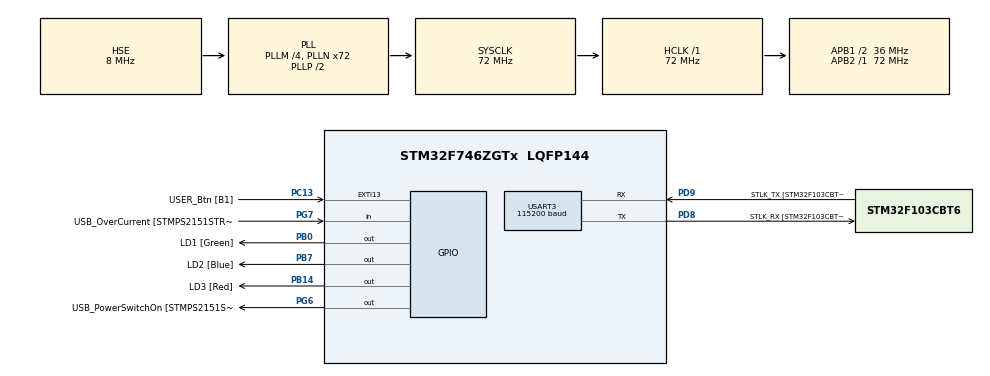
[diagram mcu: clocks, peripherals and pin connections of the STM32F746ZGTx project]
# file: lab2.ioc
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Mcu.Family=STM32F7
Mcu.Name=STM32F746ZGTx
Mcu.Package=LQFP144
NVIC.PriorityGroup=NVIC_PRIORITYGROUP_4
NVIC.USART3_IRQn=true\:0\:0\:false\:false\:true\:true\:true\:true
PA1.GPIO_Label=RMII_REF_CLK [LAN8742A-CZ-TR_REFCLK0]
PA1.Signal=ETH_REF_CLK
PA10.GPIO_Label=USB_ID
PA10.Signal=USB_OTG_FS_ID
PA11.GPIO_Label=USB_DM
PA11.Signal=USB_OTG_FS_DM
PA12.GPIO_Label=USB_DP
PA12.Signal=USB_OTG_FS_DP
PA13.GPIO_Label=TMS
PA13.Mode=Serial_Wire
PA13.Signal=SYS_JTMS-SWDIO
PA14.GPIO_Label=TCK
PA14.Mode=Serial_Wire
PA14.Signal=SYS_JTCK-SWCLK
PA2.GPIO_Label=RMII_MDIO [LAN8742A-CZ-TR_MDIO]
PA2.Signal=ETH_MDIO
PA7.GPIO_Label=RMII_CRS_DV [LAN8742A-CZ-TR_CRS_DV]
PA7.Signal=ETH_CRS_DV
PA8.GPIO_Label=USB_SOF [TP1]
PA8.Signal=USB_OTG_FS_SOF
PA9.GPIO_Label=USB_VBUS
PA9.Signal=USB_OTG_FS_VBUS
PB0.GPIO_Label=LD1 [Green]
PB0.Signal=GPIO_Output
PB13.GPIO_Label=RMII_TXD1 [LAN8742A-CZ-TR_TXD1]
PB13.Signal=ETH_TXD1
PB14.GPIO_Label=LD3 [Red]
PB14.Signal=GPIO_Output
PB3.GPIO_Label=SW0
PB3.Signal=SYS_JTDO-SWO
PB7.GPIO_Label=LD2 [Blue]
PB7.Signal=GPIO_Output
PC1.GPIO_Label=RMII_MDC [LAN8742A-CZ-TR_MDC]
PC1.Signal=ETH_MDC
PC13.GPIO_Label=USER_Btn [B1]
PC13.Signal=GPXTI13
PC14/OSC32_IN.Mode=LSE-External-Oscillator
PC14/OSC32_IN.Signal=RCC_OSC32_IN
PC15/OSC32_OUT.Mode=LSE-External-Oscillator
PC15/OSC32_OUT.Signal=RCC_OSC32_OUT
PC4.GPIO_Label=RMII_RXD0 [LAN8742A-CZ-TR_RXD0]
PC4.Signal=ETH_RXD0
PC5.GPIO_Label=RMII_RXD1 [LAN8742A-CZ-TR_RXD1]
PC5.Signal=ETH_RXD1
PD8.GPIO_Label=STLK_RX [STM32F103CBT6_PA3]
PD8.GPIO_PuPd=GPIO_PULLUP
PD8.Mode=Asynchronous
PD8.Signal=USART3_TX
PD9.GPIO_Label=STLK_TX [STM32F103CBT6_PA2]
PD9.GPIO_PuPd=GPIO_PULLUP
PD9.Mode=Asynchronous
PD9.Signal=USART3_RX
PG11.GPIO_Label=RMII_TX_EN [LAN8742A-CZ-TR_TXEN]
PG11.Signal=ETH_TX_EN
PG13.GPIO_Label=RMII_TXD0 [LAN8742A-CZ-TR_TXD0]
PG13.Signal=ETH_TXD0
PG6.GPIO_Label=USB_PowerSwitchOn [STMPS2151STR_EN]
PG6.Signal=GPIO_Output
PG7.GPIO_Label=USB_OverCurrent [STMPS2151STR_FAULT]
PG7.Signal=GPIO_Input
PH0/OSC_IN.GPIO_Label=MCO [STM32F103CBT6_PA8]
PH0/OSC_IN.Mode=HSE-External-Clock-Source
PH0/OSC_IN.Signal=RCC_OSC_IN
PH1/OSC_OUT.Mode=HSE-External-Clock-Source
PH1/OSC_OUT.Signal=RCC_OSC_OUT
ProjectManager.HeapSize=0x200
ProjectManager.StackSize=0x400
ProjectManager.TargetToolchain=STM32CubeIDE
RCC.48MHZClocksFreq_Value=24000000
RCC.AHBFreq_Value=72000000
RCC.APB1CLKDivider=RCC_HCLK_DIV2
RCC.APB1Freq_Value=36000000
RCC.APB1TimFreq_Value=72000000
RCC.APB2Freq_Value=72000000
RCC.APB2TimFreq_Value=72000000
RCC.CortexFreq_Value=72000000
RCC.HCLKFreq_Value=72000000
RCC.HSE_VALUE=8000000
RCC.HSI_VALUE=16000000
RCC.PLLM=4
RCC.PLLMUL=RCC_PLL_MUL9
RCC.PLLN=72
RCC.PLLQ=3
RCC.PLLSourceVirtual=RCC_PLLSOURCE_HSE
RCC.PRESCALERUSB=RCC_USBCLKSOURCE_PLL_DIV1_5
RCC.SYSCLKFreq_VALUE=72000000
RCC.SYSCLKSource=RCC_SYSCLKSOURCE_PLLCLK
RCC.SYSCLKSourceVirtual=RCC_SYSCLKSOURCE_PLLCLK
RCC.USBFreq_Value=48000000
RCC.VCOOutputFreq_Value=144000000
USART3.BaudRate=115200
USART3.VirtualMode-Asynchronous=VM_ASYNC
board=NUCLEO-F746ZG

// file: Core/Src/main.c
/* USER CODE BEGIN Header */
/**
  ******************************************************************************
  * @file           : main.c
  * @brief          : Main program body
  ******************************************************************************
  * @attention
  *
  * Copyright (c) 2024 STMicroelectronics.
  * All rights reserved.
  *
  * This software is licensed under terms that can be found in the LICENSE file
  * in the root directory of this software component.
  * If no LICENSE file comes with this software, it is provided AS-IS.
  *
  ******************************************************************************
  */
#define TASK 5
/* USER CODE END Header */
#include "main.h"
#include "usart.h"
#include "gpio.h"

/* USER CODE BEGIN Includes */
#if TASK==2
#include <stdio.h>
#endif
#if TASK==5
#include <string.h>
#endif
/* USER CODE END Includes */

/* USER CODE BEGIN PD */
#if TASK==5
#define SIZE_OF_MESSAGE 5
#endif
/* USER CODE END PD */

/* USER CODE BEGIN PV */
#if TASK==4
unsigned char Message='\0';
#endif
#if TASK==5
unsigned char Message[SIZE_OF_MESSAGE];
char WrongMessage[]="Wrong Message\n\r";
#endif
/* USER CODE END PV */

void SystemClock_Config(void);
/* USER CODE BEGIN PFP */
#if TASK==4
/**
  * @brief  Rx Transfer completed callback.
  * @param  huart UART handle.
  * @retval None
  */
void HAL_UART_RxCpltCallback(UART_HandleTypeDef *huart)
{
  /* Prevent unused argument(s) compilation warning */
  if(huart==&huart3){
	  HAL_UART_Transmit_IT(&huart3, &Message, 1);
	  HAL_GPIO_TogglePin(LD1_GPIO_Port, LD1_Pin);
  }

  /* NOTE : This function should not be modified, when the callback is needed,
            the HAL_UART_RxCpltCallback can be implemented in the user file.
   */
}
/**
  * @brief Tx Transfer completed callback.
  * @param huart UART handle.
  * @retval None
  */
void HAL_UART_TxCpltCallback(UART_HandleTypeDef *huart)
{
  /* Prevent unused argument(s) compilation warning */
  if(huart==&huart3){
	  HAL_UART_Receive_IT(&huart3, &Message, 1);
	  HAL_GPIO_WritePin(LD2_GPIO_Port, LD2_Pin, GPIO_PIN_SET);
  }

  /* NOTE : This function should not be modified, when the callback is needed,
            the HAL_UART_TxCpltCallback can be implemented in the user file.
   */
}
#endif
#if TASK==5
/**
  * @brief Tx Transfer completed callback.
  * @param huart UART handle.
  * @retval None
  */
void HAL_UART_RxCpltCallback(UART_HandleTypeDef *huart)
{
  /* Prevent unused argument(s) compilation warning */
  if(huart==&huart3){
	  if(strcmp((char*)Message, "LD1_1")==0){
		  HAL_UART_Receive_IT(&huart3, Message, SIZE_OF_MESSAGE);
		  HAL_GPIO_WritePin(LD1_GPIO_Port, LD1_Pin, GPIO_PIN_SET);
	  }
	  else if(strcmp((char*)Message, "LD2_1")==0){
		  HAL_UART_Receive_IT(&huart3, Message, SIZE_OF_MESSAGE);
		  HAL_GPIO_WritePin(LD2_GPIO_Port, LD2_Pin, GPIO_PIN_SET);
	  }
	  else if(strcmp((char*)Message, "LD3_1")==0){
		  HAL_UART_Receive_IT(&huart3, Message, SIZE_OF_MESSAGE);
		  HAL_GPIO_WritePin(LD3_GPIO_Port, LD3_Pin, GPIO_PIN_SET);
	  }
	  else if(strcmp((char*)Message, "LD1_0")==0){
		  HAL_UART_Receive_IT(&huart3, Message, SIZE_OF_MESSAGE);
		  HAL_GPIO_WritePin(LD1_GPIO_Port, LD1_Pin, GPIO_PIN_RESET);
	  }
	  else if(strcmp((char*)Message, "LD2_0")==0){
		  HAL_UART_Receive_IT(&huart3, Message, SIZE_OF_MESSAGE);
		  HAL_GPIO_WritePin(LD2_GPIO_Port, LD2_Pin, GPIO_PIN_RESET);
	  }
	  else if(strcmp((char*)Message, "LD3_0")==0){
		  HAL_UART_Receive_IT(&huart3, Message, SIZE_OF_MESSAGE);
		  HAL_GPIO_WritePin(LD3_GPIO_Port, LD3_Pin, GPIO_PIN_RESET);
	  }
	  else
		  HAL_UART_Transmit_IT(&huart3, (unsigned char*)WrongMessage, sizeof(WrongMessage)-1);
  }

  /* NOTE : This function should not be modified, when the callback is needed,
            the HAL_UART_TxCpltCallback can be implemented in the user file.
   */
}
#endif
/* USER CODE END PFP */

int main(void)
{

  /* MCU Configuration--------------------------------------------------------*/

  /* Reset of all peripherals, Initializes the Flash interface and the Systick. */
  HAL_Init();

  /* Configure the system clock */
  SystemClock_Config();

  /* Initialize all configured peripherals */
  MX_GPIO_Init();
  MX_USART3_UART_Init();
  /* USER CODE BEGIN 2 */
#if TASK==1
  unsigned char Message[]="Hello, World! \n\r";
  HAL_StatusTypeDef USART_MessageStatus=HAL_UART_Transmit(&huart3, Message, sizeof(Message)-1, 10);
  if(USART_MessageStatus==HAL_OK)
	  HAL_GPIO_WritePin(LD1_GPIO_Port, LD1_Pin, GPIO_PIN_SET);
  else
	  HAL_GPIO_WritePin(LD2_GPIO_Port, LD2_Pin, GPIO_PIN_SET);
#endif
#if TASK==2
  GPIO_PinState UserBtnOn;
  unsigned int counter;
#endif
#if TASK==4
  HAL_UART_Transmit_IT(&huart3, &Message, 1);
#endif
#if TASK==5
  HAL_UART_Receive_IT(&huart3, Message, SIZE_OF_MESSAGE);
#endif
  /* USER CODE END 2 */

  /* Infinite loop */
  /* USER CODE BEGIN WHILE */
  while (1)
  {
#if TASK==2
	  UserBtnOn=HAL_GPIO_ReadPin(USER_Btn_GPIO_Port, USER_Btn_Pin);
	  if(UserBtnOn==GPIO_PIN_SET){
		  counter ++;
		  unsigned char MessageBuffer[32];
		  int MessageLen=sprintf((char*)MessageBuffer, "Hello %d\r\n", counter);

		  HAL_StatusTypeDef USART_Message=HAL_UART_Transmit(&huart3, MessageBuffer, MessageLen, 10);
		  if(USART_Message==HAL_OK)
			  HAL_GPIO_WritePin(LD1_GPIO_Port, LD1_Pin, GPIO_PIN_SET);
		  else
			  HAL_GPIO_WritePin(LD3_GPIO_Port, LD3_Pin, GPIO_PIN_SET);
	  }
	  HAL_Delay(50);
#endif
#if TASK==3
	  unsigned char Message='\0';
	  HAL_StatusTypeDef USART_RxStatus=HAL_UART_Receive(&huart3, &Message, 1, 10);

	  if(USART_RxStatus==HAL_OK){
		  HAL_UART_Transmit(&huart3, &Message, 1, 10);
		  HAL_GPIO_TogglePin(LD1_GPIO_Port, LD1_Pin);
	  }
	  else if(USART_RxStatus==HAL_TIMEOUT)
		  HAL_GPIO_WritePin(LD2_GPIO_Port, LD2_Pin, GPIO_PIN_SET);
	  else
		  HAL_GPIO_WritePin(LD3_GPIO_Port, LD3_Pin, GPIO_PIN_SET);
#endif
    /* USER CODE END WHILE */

  }
}

void SystemClock_Config(void)
{
  RCC_OscInitTypeDef RCC_OscInitStruct = {0};
  RCC_ClkInitTypeDef RCC_ClkInitStruct = {0};

  /** Configure LSE Drive Capability
  */
  HAL_PWR_EnableBkUpAccess();

  /** Configure the main internal regulator output voltage
  */
  __HAL_RCC_PWR_CLK_ENABLE();
  __HAL_PWR_VOLTAGESCALING_CONFIG(PWR_REGULATOR_VOLTAGE_SCALE3);

  /** Initializes the RCC Oscillators according to the specified parameters
  * in the RCC_OscInitTypeDef structure.
  */
  RCC_OscInitStruct.OscillatorType = RCC_OSCILLATORTYPE_HSE;
  RCC_OscInitStruct.HSEState = RCC_HSE_BYPASS;
  RCC_OscInitStruct.PLL.PLLState = RCC_PLL_ON;
  RCC_OscInitStruct.PLL.PLLSource = RCC_PLLSOURCE_HSE;
  RCC_OscInitStruct.PLL.PLLM = 4;
  RCC_OscInitStruct.PLL.PLLN = 72;
  RCC_OscInitStruct.PLL.PLLP = RCC_PLLP_DIV2;
  RCC_OscInitStruct.PLL.PLLQ = 3;
  if (HAL_RCC_OscConfig(&RCC_OscInitStruct) != HAL_OK)
  {
    Error_Handler();
  }

  /** Initializes the CPU, AHB and APB buses clocks
  */
  RCC_ClkInitStruct.ClockType = RCC_CLOCKTYPE_HCLK|RCC_CLOCKTYPE_SYSCLK
                              |RCC_CLOCKTYPE_PCLK1|RCC_CLOCKTYPE_PCLK2;
  RCC_ClkInitStruct.SYSCLKSource = RCC_SYSCLKSOURCE_PLLCLK;
  RCC_ClkInitStruct.AHBCLKDivider = RCC_SYSCLK_DIV1;
  RCC_ClkInitStruct.APB1CLKDivider = RCC_HCLK_DIV2;
  RCC_ClkInitStruct.APB2CLKDivider = RCC_HCLK_DIV1;

  if (HAL_RCC_ClockConfig(&RCC_ClkInitStruct, FLASH_LATENCY_2) != HAL_OK)
  {
    Error_Handler();
  }
}

void Error_Handler(void)
{
  __disable_irq();
  while (1)
  {
  }
}
